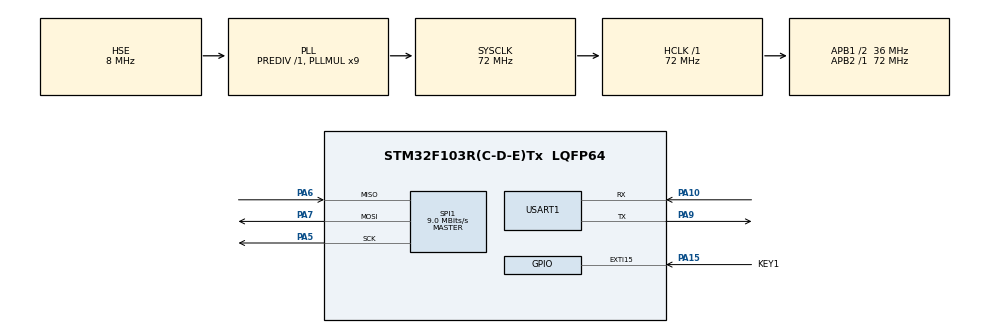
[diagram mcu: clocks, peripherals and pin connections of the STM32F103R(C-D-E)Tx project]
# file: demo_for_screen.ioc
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Mcu.Family=STM32F1
Mcu.Name=STM32F103R(C-D-E)Tx
Mcu.Package=LQFP64
NVIC.EXTI15_10_IRQn=true\:1\:0\:true\:false\:true\:true\:true\:true
NVIC.PriorityGroup=NVIC_PRIORITYGROUP_2
PA10.Mode=Asynchronous
PA10.Signal=USART1_RX
PA13.Mode=Serial_Wire
PA13.Signal=SYS_JTMS-SWDIO
PA14.Mode=Serial_Wire
PA14.Signal=SYS_JTCK-SWCLK
PA15.GPIO_Label=KEY1
PA15.GPIO_ModeDefaultEXTI=GPIO_MODE_IT_FALLING
PA15.GPIO_PuPd=GPIO_PULLUP
PA15.Signal=GPXTI15
PA5.Mode=Full_Duplex_Master
PA5.Signal=SPI1_SCK
PA6.Mode=Full_Duplex_Master
PA6.Signal=SPI1_MISO
PA7.Mode=Full_Duplex_Master
PA7.Signal=SPI1_MOSI
PA9.Mode=Asynchronous
PA9.Signal=USART1_TX
PD0-OSC_IN.Mode=HSE-External-Oscillator
PD0-OSC_IN.Signal=RCC_OSC_IN
PD1-OSC_OUT.Mode=HSE-External-Oscillator
PD1-OSC_OUT.Signal=RCC_OSC_OUT
ProjectManager.HeapSize=0x200
ProjectManager.StackSize=0x400
ProjectManager.TargetToolchain=STM32CubeIDE
RCC.AHBFreq_Value=72000000
RCC.APB1CLKDivider=RCC_HCLK_DIV2
RCC.APB1Freq_Value=36000000
RCC.APB1TimFreq_Value=72000000
RCC.APB2Freq_Value=72000000
RCC.APB2TimFreq_Value=72000000
RCC.HCLKFreq_Value=72000000
RCC.PLLMUL=RCC_PLL_MUL9
RCC.PLLSourceVirtual=RCC_PLLSOURCE_HSE
RCC.SYSCLKFreq_VALUE=72000000
RCC.SYSCLKSource=RCC_SYSCLKSOURCE_PLLCLK
RCC.USBFreq_Value=72000000
SPI1.BaudRatePrescaler=SPI_BAUDRATEPRESCALER_8
SPI1.CalculateBaudRate=9.0 MBits/s
SPI1.Direction=SPI_DIRECTION_2LINES
SPI1.Mode=SPI_MODE_MASTER
SPI1.VirtualType=VM_MASTER
USART1.VirtualMode=VM_ASYNC
board=custom

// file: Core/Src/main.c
/* USER CODE BEGIN Header */
/**
  ******************************************************************************
  * @file           : main.c
  * @brief          : Main program body
  ******************************************************************************
  * @attention
  *
  * Copyright (c) 2022 STMicroelectronics.
  * All rights reserved.
  *
  * This software is licensed under terms that can be found in the LICENSE file
  * in the root directory of this software component.
  * If no LICENSE file comes with this software, it is provided AS-IS.
  *
  ******************************************************************************
  */
/* USER CODE END Header */
#include "main.h"

/* USER CODE BEGIN Includes */

/* Private includes ----------------------------------------------------------*/
/* USER CODE BEGIN Includes */
#include "sys.h"
#include "delay.h"
//#include "usart.h"
#include "led.h"
#include "key.h"
#include "lcd.h"
//#include "usmart.h"
#include "touch.h"
#include "24cxx.h"
#include "24l01.h" //通信驱动 基于spi进行通信
//#include "remote.h" 红外遥控驱动
/* USER CODE END Includes */

/* USER CODE BEGIN PD */
unsigned char DATA_TO_SEND[800];
int state_num = 0;
u8 STATE[30];
UART_HandleTypeDef huart1;

/* USER CODE END PD */

/* USER CODE BEGIN PM */
//清空屏幕并在右上角显 ???"RST"
void Load_Drow_Dialog(void) {
    LCD_Clear(WHITE);//清屏
    POINT_COLOR = BLUE;//设置字体为蓝 ???
    LCD_ShowString(lcddev.width - 24, 0, 200, 16, 16, "RST");//显示清屏区域
    POINT_COLOR = RED;//设置画笔蓝色
}

////////////////////////////////////////////////////////////////////////////////
//电容触摸屏专有部 ???
//画水平线
//x0,y0:坐标
//len:线长 ???
//color:颜色
void gui_draw_hline(u16 x0, u16 y0, u16 len, u16 color) {
    if (len == 0)return;
    LCD_Fill(x0, y0, x0 + len - 1, y0, color);
}

//画实心圆
//x0,y0:坐标
//r:半径
//color:颜色
void gui_fill_circle(u16 x0, u16 y0, u16 r, u16 color) {
    u32 i;
    u32 imax = ((u32) r * 707) / 1000 + 1;
    u32 sqmax = (u32) r * (u32) r + (u32) r / 2;
    u32 x = r;
    gui_draw_hline(x0 - r, y0, 2 * r, color);
    for (i = 1; i <= imax; i++) {
        if ((i * i + x * x) > sqmax)// draw lines from outside
        {
            if (x > imax) {
                gui_draw_hline(x0 - i + 1, y0 + x, 2 * (i - 1), color);
                gui_draw_hline(x0 - i + 1, y0 - x, 2 * (i - 1), color);
            }
            x--;
        }
        // draw lines from inside (center)
        gui_draw_hline(x0 - x, y0 + i, 2 * x, color);
        gui_draw_hline(x0 - x, y0 - i, 2 * x, color);
    }
}

//两个数之差的绝对 ???
//x1,x2：需取差值的两个 ???
//返回值：|x1-x2|
u16 my_abs(u16 x1, u16 x2) {
    if (x1 > x2)return x1 - x2;
    else return x2 - x1;
}
//画一条粗 ???
//(x1,y1),(x2,y2):线条的起始坐 ???
//size：线条的粗细程度
//color：线条的颜色

void screen_print() {
    LCD_Clear(WHITE);//清屏
    POINT_COLOR = BLUE;//设置字体为蓝 ??
    LCD_ShowString(lcddev.width - 24, 0, 200, 16, 16, "RST");//显示清屏区域
    LCD_ShowString(0, 0, 200, 24, 24, "SHOW PICTURE");
    LCD_ShowString(60, 60, 200, 24, 24, "SEND MESSAGE");
    LCD_ShowString(0, lcddev.height - 24, 200, 16, 16, STATE);
    POINT_COLOR = RED;//设置画笔为红 ??

}

void screen_norm_print() {
//	LCD_Clear(WHITE);//清屏
    POINT_COLOR = BLUE;//设置字体为蓝 ??
    LCD_ShowString(lcddev.width - 24, 0, 200, 16, 16, "RST");//显示清屏区域
    LCD_ShowString(0, 0, 200, 24, 24, "SHOW PICTURE");
    LCD_ShowString(60, 60, 200, 24, 24, "SEND MESSAGE");
    LCD_ShowString(0, lcddev.height - 24, 200, 16, 16, STATE);
    POINT_COLOR = RED;//设置画笔为红 ??

}

void change_state() {
    if (state_num == 0) {
        state_num = 1;
        sprintf(STATE, "STATE: ON");
    } else {
        state_num = 0;
        sprintf(STATE, "STATE: OFF");
    }
}

void lcd_draw_bline(u16 x1, u16 y1, u16 x2, u16 y2, u8 size, u16 color) {
    u16 t;
    int xerr = 0, yerr = 0, delta_x, delta_y, distance;
    int incx, incy, uRow, uCol;
    if (x1 < size || x2 < size || y1 < size || y2 < size)return;
    delta_x = x2 - x1; //计算坐标增量
    delta_y = y2 - y1;
    uRow = x1;
    uCol = y1;
    if (delta_x > 0)incx = 1; //设置单步方向
    else if (delta_x == 0)incx = 0;//垂直 ???
    else {
        incx = -1;
        delta_x = -delta_x;
    }
    if (delta_y > 0)incy = 1;
    else if (delta_y == 0)incy = 0;//水平 ???
    else {
        incy = -1;
        delta_y = -delta_y;
    }
    if (delta_x > delta_y)distance = delta_x; //选取基本增量坐标 ???
    else distance = delta_y;
    for (t = 0; t <= distance + 1; t++)//画线输出
    {
        gui_fill_circle(uRow, uCol, size, color);//画点
        xerr += delta_x;
        yerr += delta_y;
        if (xerr > distance) {
            xerr -= distance;
            uRow += incx;
        }
        if (yerr > distance) {
            yerr -= distance;
            uCol += incy;
        }
    }
}

////////////////////////////////////////////////////////////////////////////////
//5个触控点的颜 ???(电容触摸屏用)
const u16 POINT_COLOR_TBL[5] = {RED, GREEN, BLUE, BROWN, GRED};

//电阻触摸屏测试函 ???
void rtp_test(void) {
    u8 key;
    u8 i = 0;
    while (1) {
        key = KEY_Scan(0);
        tp_dev.scan(0);
        screen_norm_print();
        if (tp_dev.sta & TP_PRES_DOWN)            //触摸屏被按下
        {
            if (tp_dev.x[0] < lcddev.width && tp_dev.y[0] < lcddev.height) {
                if (tp_dev.x[0] > (lcddev.width - 24) && tp_dev.y[0] < 16) {
                    screen_print();//清除
                } else if (tp_dev.x[0] < 80 && tp_dev.y[0] < 24) {
                    LCD_ShowImage2(40, 80);
                } else if (tp_dev.x[0] > 60 && tp_dev.y[0] > 60 && tp_dev.x[0] < 180 && tp_dev.y[0] < 100) {
                    sprintf(DATA_TO_SEND, "SEND DATA");
                    HAL_UART_Transmit(&huart1, (uint8_t *) DATA_TO_SEND, strlen(DATA_TO_SEND), HAL_MAX_DELAY);
                } else if (tp_dev.x[0] > 0 && tp_dev.y[0] > lcddev.height - 24 && tp_dev.x[0] < 80 &&
                           tp_dev.y[0] < lcddev.height) {
                    change_state();
                } else {
                    TP_Draw_Big_Point(tp_dev.x[0], tp_dev.y[0], RED);//画图
                }
            }
        } else delay_ms(10);    //没有按键按下的时 ???
        if (key == KEY0_PRES)    //KEY0按下,则执行校准程 ???
        {
            LCD_Clear(WHITE);    //清屏
            TP_Adjust();        //屏幕校准
            TP_Save_Adjdata();
            Load_Drow_Dialog();
        }
        i++;
        if (i % 20 == 0)LED0 = !LED0;
    }
}

//电容触摸屏测试函 ???
void ctp_test(void) {
    u8 t = 0;
    u8 i = 0;
    u16 lastpos[5][2];        // ???后一次的数据
    while (1) {
        tp_dev.scan(0);
        for (t = 0; t < 5; t++) {
            if ((tp_dev.sta) & (1 << t)) {
                //printf("X坐标:%d,Y坐标:%d\r\n",tp_dev.x[0],tp_dev.y[0]);
                if (tp_dev.x[t] < lcddev.width && tp_dev.y[t] < lcddev.height) {
                    if (lastpos[t][0] == 0XFFFF) {
                        lastpos[t][0] = tp_dev.x[t];
                        lastpos[t][1] = tp_dev.y[t];
                    }

                    lcd_draw_bline(lastpos[t][0], lastpos[t][1], tp_dev.x[t], tp_dev.y[t], 2, POINT_COLOR_TBL[t]);//画线
                    lastpos[t][0] = tp_dev.x[t];
                    lastpos[t][1] = tp_dev.y[t];
                    if (tp_dev.x[t] > (lcddev.width - 24) && tp_dev.y[t] < 20) {
                        Load_Drow_Dialog();//清除
                    }
                }
            } else lastpos[t][0] = 0XFFFF;
        }

        delay_ms(5);
        i++;
        if (i % 20 == 0)LED0 = !LED0;
    }
}

/* USER CODE END PM */

SPI_HandleTypeDef hspi1;

UART_HandleTypeDef huart1;

void SystemClock_Config(void);

static void MX_GPIO_Init(void);

static void MX_SPI1_Init(void);

static void MX_USART1_UART_Init(void);

int main(void) {

    /* MCU Configuration--------------------------------------------------------*/

    /* Reset of all peripherals, Initializes the Flash interface and the Systick. */
    HAL_Init();

    /* USER CODE BEGIN Init */
    Stm32_Clock_Init(RCC_PLL_MUL9);    //设置时钟,72M
    delay_init(72);                    //初始化延时函 ???
//	uart_init(115200);					//初始化串 ???
//	usmart_dev.init(84); 		  	  	//初始化USMART
    LED_Init();                            //初始化LED
    KEY_Init();                            //初始化按 ???
    LCD_Init();                            //初始化LCD
    tp_dev.init();                        //触摸屏初始化
    /* USER CODE END Init */

    /* Configure the system clock */
    SystemClock_Config();

    /* Initialize all configured peripherals */
    MX_GPIO_Init();
    MX_SPI1_Init();
    MX_USART1_UART_Init();
    /* USER CODE BEGIN 2 */
    POINT_COLOR = RED;
    LCD_ShowString(30, 50, 200, 16, 16, "Mini STM32");
    LCD_ShowString(30, 70, 200, 16, 16, "TOUCH TEST");
    LCD_ShowString(30, 90, 200, 16, 16, "ATOM@ALIENTEK");
    LCD_ShowString(30, 110, 200, 16, 16, "2019/11/15");
    if (tp_dev.touchtype != 0XFF) {
        LCD_ShowString(30, 130, 200, 16, 16, "Press KEY0 to Adjust");//电阻屏才显示
    }
    delay_ms(1500);
    Load_Drow_Dialog();

    if (tp_dev.touchtype & 0X80)ctp_test();//电容 ??
    else rtp_test();                    //电阻 ??
    /* USER CODE END 2 */

    /* Infinite loop */

}

void SystemClock_Config(void) {
    RCC_OscInitTypeDef RCC_OscInitStruct = {0};
    RCC_ClkInitTypeDef RCC_ClkInitStruct = {0};

    /** Initializes the RCC Oscillators according to the specified parameters
    * in the RCC_OscInitTypeDef structure.
    */
    RCC_OscInitStruct.OscillatorType = RCC_OSCILLATORTYPE_HSE;
    RCC_OscInitStruct.HSEState = RCC_HSE_ON;
    RCC_OscInitStruct.HSEPredivValue = RCC_HSE_PREDIV_DIV1;
    RCC_OscInitStruct.HSIState = RCC_HSI_ON;
    RCC_OscInitStruct.PLL.PLLState = RCC_PLL_ON;
    RCC_OscInitStruct.PLL.PLLSource = RCC_PLLSOURCE_HSE;
    RCC_OscInitStruct.PLL.PLLMUL = RCC_PLL_MUL9;
    if (HAL_RCC_OscConfig(&RCC_OscInitStruct) != HAL_OK) {
        Error_Handler();
    }

    /** Initializes the CPU, AHB and APB buses clocks
    */
    RCC_ClkInitStruct.ClockType = RCC_CLOCKTYPE_HCLK | RCC_CLOCKTYPE_SYSCLK
                                  | RCC_CLOCKTYPE_PCLK1 | RCC_CLOCKTYPE_PCLK2;
    RCC_ClkInitStruct.SYSCLKSource = RCC_SYSCLKSOURCE_PLLCLK;
    RCC_ClkInitStruct.AHBCLKDivider = RCC_SYSCLK_DIV1;
    RCC_ClkInitStruct.APB1CLKDivider = RCC_HCLK_DIV2;
    RCC_ClkInitStruct.APB2CLKDivider = RCC_HCLK_DIV1;

    if (HAL_RCC_ClockConfig(&RCC_ClkInitStruct, FLASH_LATENCY_2) != HAL_OK) {
        Error_Handler();
    }
}

static void MX_SPI1_Init(void) {

    /* SPI1 parameter configuration*/
    hspi1.Instance = SPI1;
    hspi1.Init.Mode = SPI_MODE_MASTER;
    hspi1.Init.Direction = SPI_DIRECTION_2LINES;
    hspi1.Init.DataSize = SPI_DATASIZE_8BIT;
    hspi1.Init.CLKPolarity = SPI_POLARITY_LOW;
    hspi1.Init.CLKPhase = SPI_PHASE_1EDGE;
    hspi1.Init.NSS = SPI_NSS_SOFT;
    hspi1.Init.BaudRatePrescaler = SPI_BAUDRATEPRESCALER_8;
    hspi1.Init.FirstBit = SPI_FIRSTBIT_MSB;
    hspi1.Init.TIMode = SPI_TIMODE_DISABLE;
    hspi1.Init.CRCCalculation = SPI_CRCCALCULATION_DISABLE;
    hspi1.Init.CRCPolynomial = 10;
    if (HAL_SPI_Init(&hspi1) != HAL_OK) {
        Error_Handler();
    }

}

static void MX_USART1_UART_Init(void) {

    huart1.Instance = USART1;
    huart1.Init.BaudRate = 115200;
    huart1.Init.WordLength = UART_WORDLENGTH_8B;
    huart1.Init.StopBits = UART_STOPBITS_1;
    huart1.Init.Parity = UART_PARITY_NONE;
    huart1.Init.Mode = UART_MODE_TX_RX;
    huart1.Init.HwFlowCtl = UART_HWCONTROL_NONE;
    huart1.Init.OverSampling = UART_OVERSAMPLING_16;
    if (HAL_UART_Init(&huart1) != HAL_OK) {
        Error_Handler();
    }

}

static void MX_GPIO_Init(void) {
    GPIO_InitTypeDef GPIO_InitStruct = {0};

    /* GPIO Ports Clock Enable */
    __HAL_RCC_GPIOD_CLK_ENABLE();
    __HAL_RCC_GPIOA_CLK_ENABLE();

    /*Configure GPIO pin : KEY1_Pin */
    GPIO_InitStruct.Pin = KEY1_Pin;
    GPIO_InitStruct.Mode = GPIO_MODE_IT_FALLING;
    GPIO_InitStruct.Pull = GPIO_PULLUP;
    HAL_GPIO_Init(KEY1_GPIO_Port, &GPIO_InitStruct);

    /* EXTI interrupt init*/
    HAL_NVIC_SetPriority(EXTI15_10_IRQn, 1, 0);
    HAL_NVIC_EnableIRQ(EXTI15_10_IRQn);

}

void Error_Handler(void) {
    __disable_irq();
    while (1) {
    }
}
